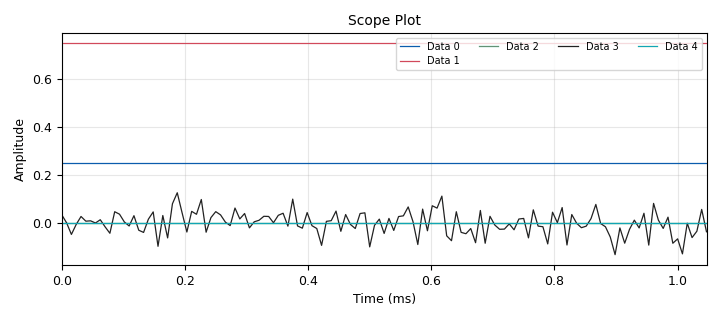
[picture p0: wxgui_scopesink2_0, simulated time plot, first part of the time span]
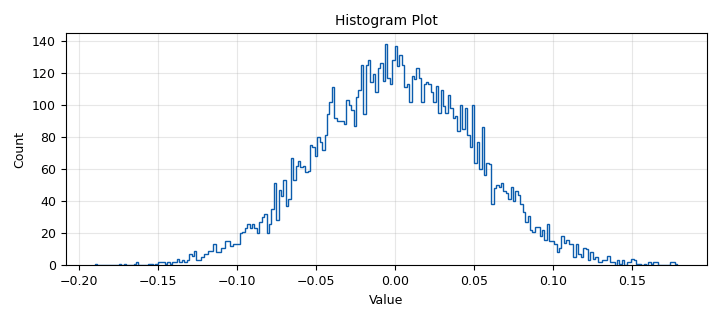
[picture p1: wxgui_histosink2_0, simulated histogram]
<?xml version='1.0' encoding='utf-8'?>
<flow_graph>
<block>
<key>options</key>
<param><key>id</key><value>top_block</value></param>
<param><key>generate_options</key><value>wx_gui</value></param>
<param><key>category</key><value>Custom</value></param>
</block>
<block>
<key>variable</key>
<param><key>id</key><value>samp_rate</value></param>
<param><key>value</key><value>32000*4</value></param>
</block>
<block>
<key>variable_slider</key>
<param><key>id</key><value>lo</value></param>
<param><key>label</key><value>Low</value></param>
<param><key>value</key><value>.25</value></param>
<param><key>min</key><value>0</value></param>
<param><key>max</key><value>1</value></param>
<param><key>num_steps</key><value>100</value></param>
<param><key>style</key><value>wx.SL_HORIZONTAL</value></param>
<param><key>converver</key><value>float_converter</value></param>
</block>
<block>
<key>variable_slider</key>
<param><key>id</key><value>hi</value></param>
<param><key>label</key><value>High</value></param>
<param><key>value</key><value>.75</value></param>
<param><key>min</key><value>0</value></param>
<param><key>max</key><value>1</value></param>
<param><key>num_steps</key><value>100</value></param>
<param><key>style</key><value>wx.SL_HORIZONTAL</value></param>
<param><key>converver</key><value>float_converter</value></param>
</block>
<block>
<key>variable_slider</key>
<param><key>id</key><value>level</value></param>
<param><key>label</key><value>Level</value></param>
<param><key>value</key><value>0</value></param>
<param><key>min</key><value>-1</value></param>
<param><key>max</key><value>2</value></param>
<param><key>num_steps</key><value>100</value></param>
<param><key>style</key><value>wx.SL_HORIZONTAL</value></param>
<param><key>converver</key><value>float_converter</value></param>
</block>
<block>
<key>variable_slider</key>
<param><key>id</key><value>noise</value></param>
<param><key>label</key><value>Noise</value></param>
<param><key>value</key><value>0.05</value></param>
<param><key>min</key><value>0</value></param>
<param><key>max</key><value>1</value></param>
<param><key>num_steps</key><value>100</value></param>
<param><key>style</key><value>wx.SL_HORIZONTAL</value></param>
<param><key>converver</key><value>float_converter</value></param>
</block>
<block>
<key>gr_threshold_ff</key>
<param><key>id</key><value>gr_threshold_ff_0</value></param>
<param><key>low</key><value>lo</value></param>
<param><key>high</key><value>hi</value></param>
<param><key>init</key><value>0</value></param>
</block>
<block>
<key>const_source_x</key>
<param><key>id</key><value>const_source_x_0_0_0</value></param>
<param><key>type</key><value>float</value></param>
<param><key>const</key><value>level</value></param>
</block>
<block>
<key>gr_throttle</key>
<param><key>id</key><value>gr_throttle_0</value></param>
<param><key>_enabled</key><value>False</value></param>
<param><key>type</key><value>float</value></param>
<param><key>samples_per_second</key><value>samp_rate</value></param>
<param><key>vlen</key><value>1</value></param>
</block>
<block>
<key>gr_throttle</key>
<param><key>id</key><value>gr_throttle_0_0</value></param>
<param><key>_enabled</key><value>False</value></param>
<param><key>type</key><value>float</value></param>
<param><key>samples_per_second</key><value>samp_rate</value></param>
<param><key>vlen</key><value>1</value></param>
</block>
<block>
<key>const_source_x</key>
<param><key>id</key><value>const_source_0</value></param>
<param><key>type</key><value>float</value></param>
<param><key>const</key><value>lo</value></param>
</block>
<block>
<key>const_source_x</key>
<param><key>id</key><value>const_source_x_0_0</value></param>
<param><key>type</key><value>float</value></param>
<param><key>const</key><value>hi</value></param>
</block>
<block>
<key>wxgui_scopesink2</key>
<param><key>id</key><value>wxgui_scopesink2_0</value></param>
<param><key>type</key><value>float</value></param>
<param><key>title</key><value>Scope Plot</value></param>
<param><key>samp_rate</key><value>samp_rate</value></param>
<param><key>v_scale</key><value>.25</value></param>
<param><key>v_offset</key><value>.5</value></param>
<param><key>t_scale</key><value>0</value></param>
<param><key>ac_couple</key><value>False</value></param>
<param><key>xy_mode</key><value>False</value></param>
<param><key>num_inputs</key><value>5</value></param>
<param><key>win_size</key><value>(510,320)</value></param>
<param><key>grid_pos</key><value>(0,0,1,1)</value></param>
</block>
<block>
<key>gr_add_xx</key>
<param><key>id</key><value>gr_add_xx_0</value></param>
<param><key>type</key><value>float</value></param>
<param><key>num_inputs</key><value>2</value></param>
<param><key>vlen</key><value>1</value></param>
</block>
<block>
<key>gr_noise_source_x</key>
<param><key>id</key><value>gr_noise_source_x_0</value></param>
<param><key>type</key><value>float</value></param>
<param><key>noise_type</key><value>gr.GR_GAUSSIAN</value></param>
<param><key>amp</key><value>noise</value></param>
<param><key>seed</key><value>42</value></param>
</block>
<block>
<key>gr_throttle</key>
<param><key>id</key><value>gr_throttle_0_0_1</value></param>
<param><key>type</key><value>float</value></param>
<param><key>samples_per_second</key><value>samp_rate</value></param>
<param><key>vlen</key><value>1</value></param>
</block>
<block>
<key>gr_throttle</key>
<param><key>id</key><value>gr_throttle_0_0_0</value></param>
<param><key>_enabled</key><value>False</value></param>
<param><key>type</key><value>float</value></param>
<param><key>samples_per_second</key><value>samp_rate</value></param>
<param><key>vlen</key><value>1</value></param>
</block>
<block>
<key>wxgui_histosink2</key>
<param><key>id</key><value>wxgui_histosink2_0</value></param>
<param><key>title</key><value>Histogram Plot</value></param>
<param><key>num_bins</key><value>241</value></param>
<param><key>frame_size</key><value>10000</value></param>
<param><key>win_size</key><value>(440,320)</value></param>
<param><key>grid_pos</key><value>0,1,1,1</value></param>
</block>
<connection><source_block_id>const_source_0</source_block_id><sink_block_id>gr_throttle_0</sink_block_id><source_key>0</source_key><sink_key>0</sink_key></connection>
<connection><source_block_id>gr_throttle_0</source_block_id><sink_block_id>wxgui_scopesink2_0</sink_block_id><source_key>0</source_key><sink_key>0</sink_key></connection>
<connection><source_block_id>gr_add_xx_0</source_block_id><sink_block_id>gr_threshold_ff_0</sink_block_id><source_key>0</source_key><sink_key>0</sink_key></connection>
<connection><source_block_id>gr_add_xx_0</source_block_id><sink_block_id>wxgui_scopesink2_0</sink_block_id><source_key>0</source_key><sink_key>3</sink_key></connection>
<connection><source_block_id>gr_threshold_ff_0</source_block_id><sink_block_id>wxgui_scopesink2_0</sink_block_id><source_key>0</source_key><sink_key>2</sink_key></connection>
<connection><source_block_id>const_source_x_0_0</source_block_id><sink_block_id>gr_throttle_0_0</sink_block_id><source_key>0</source_key><sink_key>0</sink_key></connection>
<connection><source_block_id>gr_throttle_0_0</source_block_id><sink_block_id>wxgui_scopesink2_0</sink_block_id><source_key>0</source_key><sink_key>1</sink_key></connection>
<connection><source_block_id>gr_noise_source_x_0</source_block_id><sink_block_id>gr_throttle_0_0_0</sink_block_id><source_key>0</source_key><sink_key>0</sink_key></connection>
<connection><source_block_id>const_source_x_0_0_0</source_block_id><sink_block_id>gr_throttle_0_0_1</sink_block_id><source_key>0</source_key><sink_key>0</sink_key></connection>
<connection><source_block_id>gr_throttle_0_0_1</source_block_id><sink_block_id>gr_add_xx_0</sink_block_id><source_key>0</source_key><sink_key>0</sink_key></connection>
<connection><source_block_id>gr_throttle_0_0_1</source_block_id><sink_block_id>wxgui_scopesink2_0</sink_block_id><source_key>0</source_key><sink_key>4</sink_key></connection>
<connection><source_block_id>gr_throttle_0_0_0</source_block_id><sink_block_id>wxgui_histosink2_0</sink_block_id><source_key>0</source_key><sink_key>0</sink_key></connection>
<connection><source_block_id>gr_throttle_0_0_0</source_block_id><sink_block_id>gr_add_xx_0</sink_block_id><source_key>0</source_key><sink_key>1</sink_key></connection>
<connection><source_block_id>const_source_0</source_block_id><sink_block_id>wxgui_scopesink2_0</sink_block_id><source_key>0</source_key><sink_key>0</sink_key></connection>
<connection><source_block_id>const_source_x_0_0</source_block_id><sink_block_id>wxgui_scopesink2_0</sink_block_id><source_key>0</source_key><sink_key>1</sink_key></connection>
<connection><source_block_id>gr_noise_source_x_0</source_block_id><sink_block_id>gr_add_xx_0</sink_block_id><source_key>0</source_key><sink_key>1</sink_key></connection>
<connection><source_block_id>gr_noise_source_x_0</source_block_id><sink_block_id>wxgui_histosink2_0</sink_block_id><source_key>0</source_key><sink_key>0</sink_key></connection>
</flow_graph>
